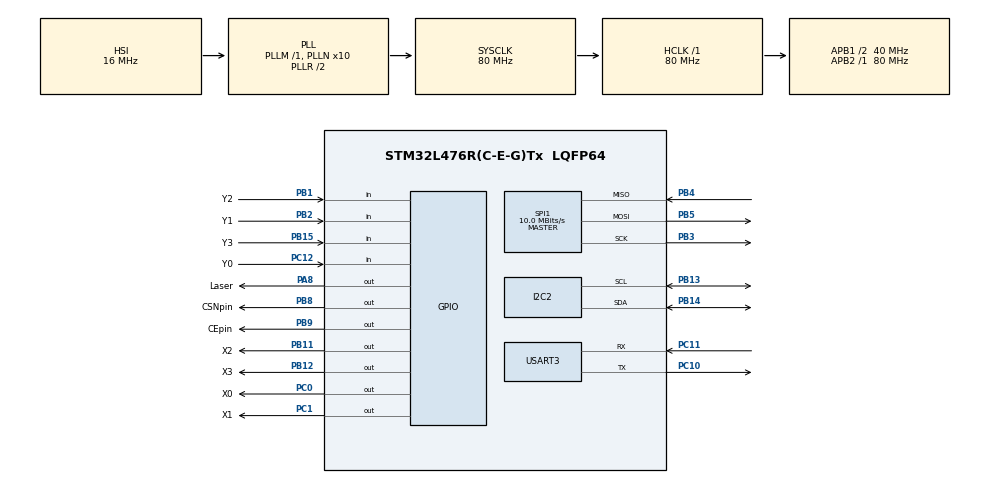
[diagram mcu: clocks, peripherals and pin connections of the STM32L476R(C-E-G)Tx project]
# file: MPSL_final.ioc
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I2C2.Timing=0x00909BEB
Mcu.Family=STM32L4
Mcu.Name=STM32L476R(C-E-G)Tx
Mcu.Package=LQFP64
NVIC.PriorityGroup=NVIC_PRIORITYGROUP_4
PA8.GPIO_Label=Laser
PA8.GPIO_PuPd=GPIO_PULLDOWN
PA8.Signal=GPIO_Output
PB1.GPIO_Label=Y2
PB1.GPIO_PuPd=GPIO_PULLUP
PB1.Signal=GPIO_Input
PB11.GPIO_Label=X2
PB11.GPIO_ModeDefaultOutputPP=GPIO_MODE_OUTPUT_OD
PB11.GPIO_PuPd=GPIO_PULLUP
PB11.GPIO_Speed=GPIO_SPEED_FREQ_HIGH
PB11.Signal=GPIO_Output
PB12.GPIO_Label=X3
PB12.GPIO_ModeDefaultOutputPP=GPIO_MODE_OUTPUT_OD
PB12.GPIO_PuPd=GPIO_PULLUP
PB12.GPIO_Speed=GPIO_SPEED_FREQ_HIGH
PB12.Signal=GPIO_Output
PB13.Mode=I2C
PB13.Signal=I2C2_SCL
PB14.Mode=I2C
PB14.Signal=I2C2_SDA
PB15.GPIO_Label=Y3
PB15.GPIO_PuPd=GPIO_PULLUP
PB15.Signal=GPIO_Input
PB2.GPIO_Label=Y1
PB2.GPIO_PuPd=GPIO_PULLUP
PB2.Signal=GPIO_Input
PB3\ (JTDO-TRACESWO).Mode=Full_Duplex_Master
PB3\ (JTDO-TRACESWO).Signal=SPI1_SCK
PB4\ (NJTRST).Mode=Full_Duplex_Master
PB4\ (NJTRST).Signal=SPI1_MISO
PB5.Mode=Full_Duplex_Master
PB5.Signal=SPI1_MOSI
PB8.GPIO_Label=CSNpin
PB8.Signal=GPIO_Output
PB9.GPIO_Label=CEpin
PB9.Signal=GPIO_Output
PC0.GPIO_Label=X0
PC0.GPIO_ModeDefaultOutputPP=GPIO_MODE_OUTPUT_OD
PC0.GPIO_PuPd=GPIO_PULLUP
PC0.GPIO_Speed=GPIO_SPEED_FREQ_HIGH
PC0.PinState=GPIO_PIN_RESET
PC0.Signal=GPIO_Output
PC1.GPIO_Label=X1
PC1.GPIO_ModeDefaultOutputPP=GPIO_MODE_OUTPUT_OD
PC1.GPIO_PuPd=GPIO_PULLUP
PC1.GPIO_Speed=GPIO_SPEED_FREQ_HIGH
PC1.Signal=GPIO_Output
PC10.Mode=Asynchronous
PC10.Signal=USART3_TX
PC11.Mode=Asynchronous
PC11.Signal=USART3_RX
PC12.GPIO_Label=Y0
PC12.GPIO_PuPd=GPIO_PULLUP
PC12.Signal=GPIO_Input
ProjectManager.HeapSize=0x200
ProjectManager.StackSize=0x400
ProjectManager.TargetToolchain=SW4STM32
RCC.ADCFreq_Value=64000000
RCC.AHBFreq_Value=80000000
RCC.APB1CLKDivider=RCC_HCLK_DIV2
RCC.APB1Freq_Value=40000000
RCC.APB1TimFreq_Value=80000000
RCC.APB2Freq_Value=80000000
RCC.APB2TimFreq_Value=80000000
RCC.CortexFreq_Value=80000000
RCC.HCLKFreq_Value=80000000
RCC.HSE_VALUE=8000000
RCC.HSI_VALUE=16000000
RCC.LSE_VALUE=32768
RCC.MSIClockRange=RCC_MSIRANGE_11
RCC.MSI_VALUE=48000000
RCC.PLLN=10
RCC.PLLSourceVirtual=RCC_PLLSOURCE_HSI
RCC.SYSCLKFreq_VALUE=80000000
RCC.SYSCLKSource=RCC_SYSCLKSOURCE_PLLCLK
RCC.USBFreq_Value=64000000
RCC.VCOOutputFreq_Value=160000000
SPI1.BaudRatePrescaler=SPI_BAUDRATEPRESCALER_8
SPI1.CalculateBaudRate=10.0 MBits/s
SPI1.DataSize=SPI_DATASIZE_8BIT
SPI1.Direction=SPI_DIRECTION_2LINES
SPI1.Mode=SPI_MODE_MASTER
SPI1.VirtualType=VM_MASTER
USART3.VirtualMode-Asynchronous=VM_ASYNC
board=custom

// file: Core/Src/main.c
/* USER CODE BEGIN Header */
/**
  ******************************************************************************
  * @file           : main.c
  * @brief          : Main program body
  ******************************************************************************
  * @attention
  *
  * <h2><center>&copy; Copyright (c) 2021 STMicroelectronics.
  * All rights reserved.</center></h2>
  *
  * This software component is licensed by ST under BSD 3-Clause license,
  * the "License"; You may not use this file except in compliance with the
  * License. You may obtain a copy of the License at:
  *                        opensource.org/licenses/BSD-3-Clause
  *
  ******************************************************************************
  */
/* USER CODE END Header */
#include "main.h"

/* USER CODE BEGIN Includes */
#include <string.h>

#include "i2c.h"
#include "keypad.h"
#include "uart.h"
#include "nrf24.h"
#include "MY_NRF24.h"
#include "kalman.h"
#include "MPU6050/inv_mpu.h"
#include "MPU6050/mpu6050.h"

#include "app.h"
/* USER CODE END Includes */

/* USER CODE BEGIN PD */
#define RAD_TO_DEG (57.295779513082320876798154814105)
#define DEG_TO_RAD (0.01745329251994329576923690768489)
/* USER CODE END PD */

I2C_HandleTypeDef hi2c2;

SPI_HandleTypeDef hspi1;

UART_HandleTypeDef huart3;

void SystemClock_Config(void);
static void MX_GPIO_Init(void);
static void MX_SPI1_Init(void);
static void MX_USART3_UART_Init(void);
static void MX_I2C2_Init(void);

/* USER CODE BEGIN 0 */
uint8_t TxpipeAddrs[5] = {0x2f,0xa6,0x37,0x89,0x73};
char myTxData[32] = "Hello World!";
char AckPayload[32];

//RawData_Def myAccelRaw, myGyroRaw;
//ScaledData_Def myAccelScaled, myGyroScaled;
/*
void avgMPU6050_2000()
{
	RawData_Def avgAccelRaw, avgGyroRaw;

	long accel_x = 0;
	long accel_y = 0;
	long accel_z = 0;
	long gyro_x = 0;
	long gyro_y = 0;
	long gyro_z = 0;
	for (int i = 0; i < 2000; i++) {
		MPU6050_Get_Accel_RawData(&avgAccelRaw);
		MPU6050_Get_Gyro_RawData(&avgGyroRaw);
		accel_x += avgAccelRaw.x;
		accel_y += avgAccelRaw.y;
		accel_z += avgAccelRaw.z;
		gyro_x += avgGyroRaw.x;
		gyro_y += avgGyroRaw.y;
		gyro_z += avgGyroRaw.z;

		HAL_Delay(20);
	}

	USART_printf(&huart3, "Accel:\r\n");
	USART_printf(&huart3, "\tx: %ld:\r\n", (accel_x / 2000)-140);
	USART_printf(&huart3, "\ty: %ld:\r\n", (accel_y / 2000)-137);
	USART_printf(&huart3, "\tz: %ld:\r\n", (accel_z / 2000)+38);
	USART_printf(&huart3, "Gyro:\r\n");
	USART_printf(&huart3, "\tx: %ld:\r\n", (gyro_x / 2000)+56);
	USART_printf(&huart3, "\ty: %ld:\r\n", (gyro_y / 2000)-30);
	USART_printf(&huart3, "\tz: %ld:\r\n", (gyro_z / 2000)+44);
	struct Euler p;
	struct Quaternion q;

	float Euler_x = 0;
	float Euler_y = 0;
	float Euler_z = 0;
	MPU6050_ToEuler(&p,  Quaternion *q);

	USART_printf(&huart3, "Euler:\r\n");
	USART_printf(&huart3, "\tx: %f:\r\n", Euler_x);
	USART_printf(&huart3, "\ty: %f:\r\n", Euler_y);
	USART_printf(&huart3, "\tz: %f:\r\n", Euler_z);
}

*/
/* USER CODE END 0 */

int main(void)
{
  /* USER CODE BEGIN 1 */
//	MPU_ConfigTypeDef myMpuConfig;
  /* USER CODE END 1 */

  /* MCU Configuration--------------------------------------------------------*/

  /* Reset of all peripherals, Initializes the Flash interface and the Systick. */
  HAL_Init();

  /* Configure the system clock */
  SystemClock_Config();

  /* Initialize all configured peripherals */
  MX_GPIO_Init();
  MX_SPI1_Init();
  MX_USART3_UART_Init();
  MX_I2C2_Init();
  /* USER CODE BEGIN 2 */
	DEF_UART = &huart3;
	nrf24_DebugUART_Init(huart3);
	NRF24_begin(GPIOB, CSNpin_Pin, GPIO_PIN_9, hspi1);
	NRF24_powerUp();

	NRF24_stopListening();
	NRF24_openWritingPipe(TxpipeAddrs);
	NRF24_setAutoAck(true);
	NRF24_setChannel(82);
	NRF24_setPayloadSize(32);
	NRF24_setPALevel(RF24_PA_0dB);
	NRF24_setDataRate(RF24_2MBPS);
	NRF24_setRetries(0x3, 3);
	NRF24_setCRCLength(RF24_CRC_8);

	NRF24_enableDynamicPayloads();
	// NRF24_enableAckPayload();
	printRadioSettings();
	//  nRF24_DumpConfig();

    mpu6050_i2c = &hi2c2;
    USART_printf(&huart3, "Connected: %u\r\n", MPU6050_isConnected());
    if (MPU6050_Init()) {
    	USART_printf(&huart3, "Failed to initialize MPU6050.\r\n");
    }

    struct Quaternion q = {
		.w = 1,
		.x = 0,
		.y = 0,
		.z = 0,
    };
	struct Euler p;
	struct Gravity g;
	struct YPR y;
	struct YPR kalman_ypr;

	keypad_init();
	KeypadState_t kpstate = 0;

	struct Kalman kalmanX, kalmanZ;
	Kalman_Init(&kalmanX);
	Kalman_Init(&kalmanZ);

  /* USER CODE END 2 */

  /* Infinite loop */
  /* USER CODE BEGIN WHILE */
	uint32_t gyro_ts = HAL_GetTick();
	uint32_t last_print = gyro_ts;
	uint32_t iter_cnt = 0;

	while (1) {
    /* USER CODE END WHILE */

    /* USER CODE BEGIN 3 */
		iter_cnt++;

		int16_t gyro_raw[3], accel_raw[3];
		mpu_get_gyro_reg(gyro_raw, NULL);
		mpu_get_accel_reg(accel_raw, NULL);
		uint32_t ts = HAL_GetTick();
		/*
		struct ScaledData accel, gyro;
		MPU6050_ToAccelScaled(&accel, accel_raw);
		MPU6050_ToGyroScaled(&gyro, gyro_raw);
		*/
		//MPU6050_ToQuaternion(&q, &accel, &gyro, (ts - gyro_ts) / 1000.0);
		if (MPU6050_GetQuaternion(&q) == 0) {
			MPU6050_ToEuler(&p,  &q);
			MPU6050_ToGravity(&g, &q);
			MPU6050_ToYPR(&y, &q, &g);

			// Kalman filter
			float kalman_x = Kalman_getAngle(&kalmanX, y.roll * RAD_TO_DEG, gyro_raw[0] / gyroRateFactor, (ts - gyro_ts) / 1000.0);
			float kalman_z = Kalman_getAngle(&kalmanZ, y.yaw * RAD_TO_DEG, gyro_raw[2] / gyroRateFactor, (ts - gyro_ts) / 1000.0);
			gyro_ts = ts;

			kalman_ypr.yaw = kalman_z * DEG_TO_RAD;
			kalman_ypr.pitch = y.pitch;
			kalman_ypr.roll = kalman_x * DEG_TO_RAD;
		}

		enum KeypadEvent events[16];
		kpstate = keypad_scan_diff(events, kpstate);
		process_key(kpstate, events, &kalman_ypr);

		uint32_t print_ts = HAL_GetTick();
		if (print_ts - last_print > 1000) {
			USART_printf(&huart3, "Gyro raw:\r\n");
			USART_printf(&huart3, "\tx: %d\r\n", gyro_raw[0]);
			USART_printf(&huart3, "\ty: %d\r\n", gyro_raw[1]);
			USART_printf(&huart3, "\tz: %d\r\n", gyro_raw[2]);
			USART_printf(&huart3, "Accel raw:\r\n");
			USART_printf(&huart3, "\tx: %d\r\n", accel_raw[0]);
			USART_printf(&huart3, "\ty: %d\r\n", accel_raw[1]);
			USART_printf(&huart3, "\tz: %d\r\n", accel_raw[2]);
			USART_printf(&huart3, "Quaternion:\r\n");
			USART_printf(&huart3, "\tw: %f\r\n", q.w);
			USART_printf(&huart3, "\tx: %f\r\n", q.x);
			USART_printf(&huart3, "\ty: %f\r\n", q.y);
			USART_printf(&huart3, "\tz: %f\r\n", q.z);
			USART_printf(&huart3, "Euler:\r\n");
			USART_printf(&huart3, "\tx: %f\r\n", p.x);
			USART_printf(&huart3, "\ty: %f\r\n", p.y);
			USART_printf(&huart3, "\tz: %f\r\n", p.z);
			USART_printf(&huart3, "YPR:\r\n");
			USART_printf(&huart3, "\tyaw: %f\r\n", y.yaw * RAD_TO_DEG);
			USART_printf(&huart3, "\tpitch: %f\r\n", y.pitch * RAD_TO_DEG);
			USART_printf(&huart3, "\troll: %f\r\n", y.roll * RAD_TO_DEG);
			USART_printf(&huart3, "Kalman YPR\r\n");
			USART_printf(&huart3, "\tyaw: %f\r\n", kalman_ypr.yaw * RAD_TO_DEG);
			USART_printf(&huart3, "\tpitch: %f\r\n", kalman_ypr.pitch * RAD_TO_DEG);
			USART_printf(&huart3, "\troll: %f\r\n", kalman_ypr.roll * RAD_TO_DEG);
			USART_printf(&huart3, "Iterator count: %u\r\n", iter_cnt);
			iter_cnt = 0;

			last_print = print_ts;
		}
    }
  /* USER CODE END 3 */
}

void SystemClock_Config(void)
{
  RCC_OscInitTypeDef RCC_OscInitStruct = {0};
  RCC_ClkInitTypeDef RCC_ClkInitStruct = {0};
  RCC_PeriphCLKInitTypeDef PeriphClkInit = {0};

  /** Initializes the RCC Oscillators according to the specified parameters
  * in the RCC_OscInitTypeDef structure.
  */
  RCC_OscInitStruct.OscillatorType = RCC_OSCILLATORTYPE_HSI;
  RCC_OscInitStruct.HSIState = RCC_HSI_ON;
  RCC_OscInitStruct.HSICalibrationValue = RCC_HSICALIBRATION_DEFAULT;
  RCC_OscInitStruct.PLL.PLLState = RCC_PLL_ON;
  RCC_OscInitStruct.PLL.PLLSource = RCC_PLLSOURCE_HSI;
  RCC_OscInitStruct.PLL.PLLM = 1;
  RCC_OscInitStruct.PLL.PLLN = 10;
  RCC_OscInitStruct.PLL.PLLP = RCC_PLLP_DIV7;
  RCC_OscInitStruct.PLL.PLLQ = RCC_PLLQ_DIV2;
  RCC_OscInitStruct.PLL.PLLR = RCC_PLLR_DIV2;
  if (HAL_RCC_OscConfig(&RCC_OscInitStruct) != HAL_OK)
  {
    Error_Handler();
  }
  /** Initializes the CPU, AHB and APB buses clocks
  */
  RCC_ClkInitStruct.ClockType = RCC_CLOCKTYPE_HCLK|RCC_CLOCKTYPE_SYSCLK
                              |RCC_CLOCKTYPE_PCLK1|RCC_CLOCKTYPE_PCLK2;
  RCC_ClkInitStruct.SYSCLKSource = RCC_SYSCLKSOURCE_PLLCLK;
  RCC_ClkInitStruct.AHBCLKDivider = RCC_SYSCLK_DIV1;
  RCC_ClkInitStruct.APB1CLKDivider = RCC_HCLK_DIV2;
  RCC_ClkInitStruct.APB2CLKDivider = RCC_HCLK_DIV1;

  if (HAL_RCC_ClockConfig(&RCC_ClkInitStruct, FLASH_LATENCY_4) != HAL_OK)
  {
    Error_Handler();
  }
  PeriphClkInit.PeriphClockSelection = RCC_PERIPHCLK_USART3|RCC_PERIPHCLK_I2C2;
  PeriphClkInit.Usart3ClockSelection = RCC_USART3CLKSOURCE_PCLK1;
  PeriphClkInit.I2c2ClockSelection = RCC_I2C2CLKSOURCE_PCLK1;
  if (HAL_RCCEx_PeriphCLKConfig(&PeriphClkInit) != HAL_OK)
  {
    Error_Handler();
  }
  /** Configure the main internal regulator output voltage
  */
  if (HAL_PWREx_ControlVoltageScaling(PWR_REGULATOR_VOLTAGE_SCALE1) != HAL_OK)
  {
    Error_Handler();
  }
}

static void MX_I2C2_Init(void)
{

  hi2c2.Instance = I2C2;
  hi2c2.Init.Timing = 0x00909BEB;
  hi2c2.Init.OwnAddress1 = 0;
  hi2c2.Init.AddressingMode = I2C_ADDRESSINGMODE_7BIT;
  hi2c2.Init.DualAddressMode = I2C_DUALADDRESS_DISABLE;
  hi2c2.Init.OwnAddress2 = 0;
  hi2c2.Init.OwnAddress2Masks = I2C_OA2_NOMASK;
  hi2c2.Init.GeneralCallMode = I2C_GENERALCALL_DISABLE;
  hi2c2.Init.NoStretchMode = I2C_NOSTRETCH_DISABLE;
  if (HAL_I2C_Init(&hi2c2) != HAL_OK)
  {
    Error_Handler();
  }
  /** Configure Analogue filter
  */
  if (HAL_I2CEx_ConfigAnalogFilter(&hi2c2, I2C_ANALOGFILTER_ENABLE) != HAL_OK)
  {
    Error_Handler();
  }
  /** Configure Digital filter
  */
  if (HAL_I2CEx_ConfigDigitalFilter(&hi2c2, 0) != HAL_OK)
  {
    Error_Handler();
  }

}

static void MX_SPI1_Init(void)
{

  /* SPI1 parameter configuration*/
  hspi1.Instance = SPI1;
  hspi1.Init.Mode = SPI_MODE_MASTER;
  hspi1.Init.Direction = SPI_DIRECTION_2LINES;
  hspi1.Init.DataSize = SPI_DATASIZE_8BIT;
  hspi1.Init.CLKPolarity = SPI_POLARITY_LOW;
  hspi1.Init.CLKPhase = SPI_PHASE_1EDGE;
  hspi1.Init.NSS = SPI_NSS_SOFT;
  hspi1.Init.BaudRatePrescaler = SPI_BAUDRATEPRESCALER_8;
  hspi1.Init.FirstBit = SPI_FIRSTBIT_MSB;
  hspi1.Init.TIMode = SPI_TIMODE_DISABLE;
  hspi1.Init.CRCCalculation = SPI_CRCCALCULATION_DISABLE;
  hspi1.Init.CRCPolynomial = 7;
  hspi1.Init.CRCLength = SPI_CRC_LENGTH_DATASIZE;
  hspi1.Init.NSSPMode = SPI_NSS_PULSE_ENABLE;
  if (HAL_SPI_Init(&hspi1) != HAL_OK)
  {
    Error_Handler();
  }

}

static void MX_USART3_UART_Init(void)
{

  huart3.Instance = USART3;
  huart3.Init.BaudRate = 115200;
  huart3.Init.WordLength = UART_WORDLENGTH_8B;
  huart3.Init.StopBits = UART_STOPBITS_1;
  huart3.Init.Parity = UART_PARITY_NONE;
  huart3.Init.Mode = UART_MODE_TX_RX;
  huart3.Init.HwFlowCtl = UART_HWCONTROL_NONE;
  huart3.Init.OverSampling = UART_OVERSAMPLING_16;
  huart3.Init.OneBitSampling = UART_ONE_BIT_SAMPLE_DISABLE;
  huart3.AdvancedInit.AdvFeatureInit = UART_ADVFEATURE_NO_INIT;
  if (HAL_UART_Init(&huart3) != HAL_OK)
  {
    Error_Handler();
  }

}

static void MX_GPIO_Init(void)
{
  GPIO_InitTypeDef GPIO_InitStruct = {0};

  /* GPIO Ports Clock Enable */
  __HAL_RCC_GPIOC_CLK_ENABLE();
  __HAL_RCC_GPIOB_CLK_ENABLE();
  __HAL_RCC_GPIOA_CLK_ENABLE();

  /*Configure GPIO pin Output Level */
  HAL_GPIO_WritePin(GPIOC, X0_Pin|X1_Pin, GPIO_PIN_RESET);

  /*Configure GPIO pin Output Level */
  HAL_GPIO_WritePin(GPIOB, X2_Pin|X3_Pin|CSNpin_Pin|CEpin_Pin, GPIO_PIN_RESET);

  /*Configure GPIO pin Output Level */
  HAL_GPIO_WritePin(Laser_GPIO_Port, Laser_Pin, GPIO_PIN_RESET);

  /*Configure GPIO pins : X0_Pin X1_Pin */
  GPIO_InitStruct.Pin = X0_Pin|X1_Pin;
  GPIO_InitStruct.Mode = GPIO_MODE_OUTPUT_OD;
  GPIO_InitStruct.Pull = GPIO_PULLUP;
  GPIO_InitStruct.Speed = GPIO_SPEED_FREQ_HIGH;
  HAL_GPIO_Init(GPIOC, &GPIO_InitStruct);

  /*Configure GPIO pins : Y2_Pin Y1_Pin Y3_Pin */
  GPIO_InitStruct.Pin = Y2_Pin|Y1_Pin|Y3_Pin;
  GPIO_InitStruct.Mode = GPIO_MODE_INPUT;
  GPIO_InitStruct.Pull = GPIO_PULLUP;
  HAL_GPIO_Init(GPIOB, &GPIO_InitStruct);

  /*Configure GPIO pins : X2_Pin X3_Pin */
  GPIO_InitStruct.Pin = X2_Pin|X3_Pin;
  GPIO_InitStruct.Mode = GPIO_MODE_OUTPUT_OD;
  GPIO_InitStruct.Pull = GPIO_PULLUP;
  GPIO_InitStruct.Speed = GPIO_SPEED_FREQ_HIGH;
  HAL_GPIO_Init(GPIOB, &GPIO_InitStruct);

  /*Configure GPIO pin : Laser_Pin */
  GPIO_InitStruct.Pin = Laser_Pin;
  GPIO_InitStruct.Mode = GPIO_MODE_OUTPUT_PP;
  GPIO_InitStruct.Pull = GPIO_PULLDOWN;
  GPIO_InitStruct.Speed = GPIO_SPEED_FREQ_LOW;
  HAL_GPIO_Init(Laser_GPIO_Port, &GPIO_InitStruct);

  /*Configure GPIO pin : Y0_Pin */
  GPIO_InitStruct.Pin = Y0_Pin;
  GPIO_InitStruct.Mode = GPIO_MODE_INPUT;
  GPIO_InitStruct.Pull = GPIO_PULLUP;
  HAL_GPIO_Init(Y0_GPIO_Port, &GPIO_InitStruct);

  /*Configure GPIO pins : CSNpin_Pin CEpin_Pin */
  GPIO_InitStruct.Pin = CSNpin_Pin|CEpin_Pin;
  GPIO_InitStruct.Mode = GPIO_MODE_OUTPUT_PP;
  GPIO_InitStruct.Pull = GPIO_NOPULL;
  GPIO_InitStruct.Speed = GPIO_SPEED_FREQ_LOW;
  HAL_GPIO_Init(GPIOB, &GPIO_InitStruct);

}

void Error_Handler(void)
{
  __disable_irq();
  while (1)
  {
  }
}

/************************ (C) COPYRIGHT STMicroelectronics *****END OF FILE****/
